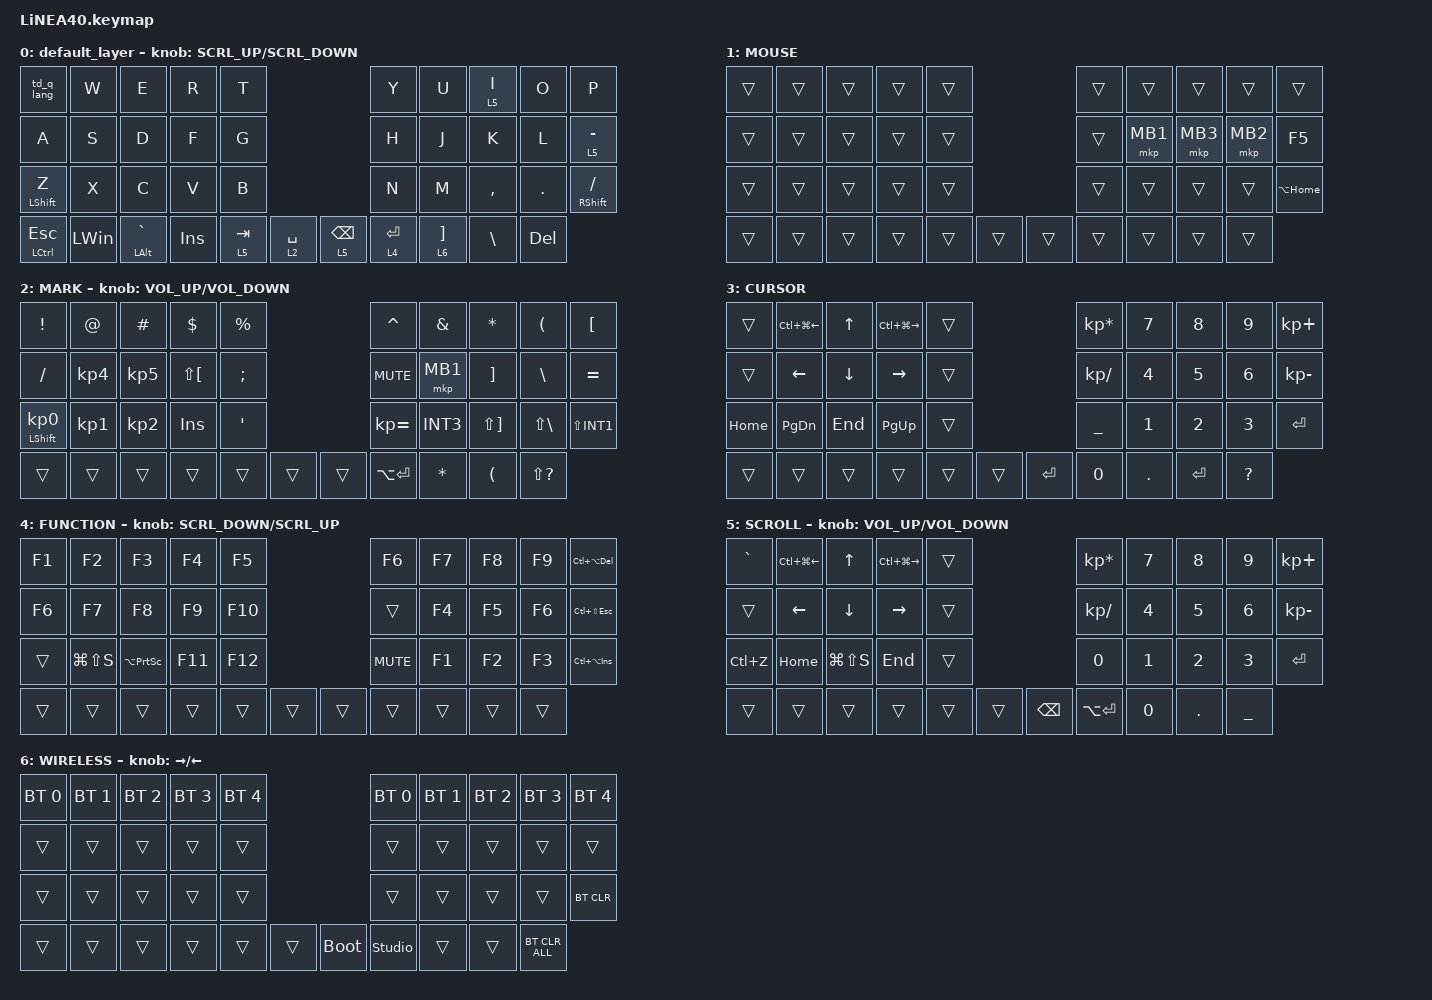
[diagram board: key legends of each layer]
#define ZMK_POINTING_DEFAULT_SCRL_VAL 150

#include <dt-bindings/zmk/input_transform.h>
#include <input/processors.dtsi>
#include <zephyr/dt-bindings/input/input-event-codes.h>
#include <behaviors.dtsi>
#include <dt-bindings/zmk/bt.h>
#include <dt-bindings/zmk/keys.h>
#include <dt-bindings/zmk/pointing.h>

#define MOUSE 1
#define MARK 2
#define CURSOR 3
#define FUNCTION 4
#define SCROLL 5
#define WIRELESS 6

//mouse cursol

&mmv {
    delay-ms = <20>;
    trigger-period-ms = <5>;
    time-to-max-speed-ms = <100>;
    acceleration-exponent = <2>;
};

//mouse scroll

&msc {
    delay-ms = <3>;
    trigger-period-ms = <3>;
    time-to-max-speed-ms = <100>;
    acceleration-exponent = <0>;
};

&mt {
    quick-tap-ms = <0>;
    flavor = "balanced";
};

/ {
    input_processors {
        zip_wheel_scaler: zip_wheel_scaler {
            compatible = "zmk,input-processor-scaler";
            #input-processor-cells = <2>;
            type = <INPUT_EV_REL>;
            codes = <INPUT_REL_WHEEL>;
            track-remainders;
        };
    };
};

&msc_input_listener {
    speed_up {
        layers = <FUNCTION>;
        input-processors = <&zip_wheel_scaler 3 1>; //スクロールを3倍速にする
    };
};

&trackball_listener {
    scroller {
        layers = <SCROLL>;
        input-processors =
            <&zip_xy_transform INPUT_TRANSFORM_Y_INVERT>,
            //スクロール方向を逆転,,,,,,,,,,,,,,,,,,,,,
            <&zip_xy_to_scroll_mapper>;
    };
};

/ {
    combos {
        compatible = "zmk,combos";

        ZenkakuHankaku {
            bindings = <&kp GRAVE>;
            key-positions = <11 12>;
        };

        DeleteKey {
            bindings = <&kp DEL>;
            key-positions = <7 8>;
        };

        InsertKey {
            bindings = <&kp INS>;
            key-positions = <6 7>;
        };

        CenterClick {
            bindings = <&mkp MB3>;
            key-positions = <17 16>;
        };

        RightClick {
            bindings = <&mkp MB2>;
            key-positions = <18 17>;
        };

        PrevClick {
            bindings = <&mkp MB4>;
            key-positions = <27 28>;
        };

        ClickNext {
            bindings = <&mkp MB5>;
            key-positions = <26 27>;
        };

        henkan {
            bindings = <&kp CAPS>;
            key-positions = <0 1>;
        };
    };

    behaviors {
        re_kp: sensor_rotate_kp {
            compatible = "zmk,behavior-sensor-rotate-var";
            #sensor-binding-cells = <2>;
            bindings = <&kp>, <&kp>;
        };

        mouse_scrl: mouse_wheel_scrl {
            compatible = "zmk,behavior-sensor-rotate-var";
            #sensor-binding-cells = <2>;
            bindings = <&msc>, <&msc>;

            tap-ms = <20>;
        };

        //Q1回でQ、Q2回で全角/半角（S+Dのcomboと同じ）

        td_q_lang: tap_dance_q_lang {
            compatible = "zmk,behavior-tap-dance";
            #binding-cells = <0>;
            tapping-term-ms = <300>;
            bindings = <&kp Q>, <&kp GRAVE>;
        };
    };

    keymap {
        compatible = "zmk,keymap";

        default_layer {
            bindings = <
&td_q_lang        &kp W         &kp E               &kp R    &kp T                                      &kp Y        &kp U  &lt 5 I              &kp O          &kp P
&kp A             &kp S         &kp D               &kp F    &kp G                                      &kp H        &kp J  &kp K                &kp L          &lt 5 MINUS
&mt LEFT_SHIFT Z  &kp X         &kp C               &kp V    &kp B                                      &kp N        &kp M  &kp COMMA            &kp DOT        &mt RIGHT_SHIFT SLASH
&mt LCTRL ESCAPE  &kp LEFT_WIN  &mt LEFT_ALT GRAVE  &kp INS  &lt 5 TAB  &lt 2 SPACE    &lt 5 BACKSPACE  &lt 4 ENTER         &lt 6 RIGHT_BRACKET  &kp BACKSLASH  &kp DEL
            >;

            sensor-bindings = <&mouse_scrl SCRL_UP SCRL_DOWN>;
        };

        //1

        MOUSE {
            bindings = <
&trans  &trans  &trans  &trans  &trans                    &trans  &trans    &trans    &trans    &trans
&trans  &trans  &trans  &trans  &trans                    &trans  &mkp MB1  &mkp MB3  &mkp MB2  &kp F5
&trans  &trans  &trans  &trans  &trans                    &trans  &trans    &trans    &trans    &kp LA(HOME)
&trans  &trans  &trans  &trans  &trans  &trans    &trans  &trans            &trans    &trans    &trans
            >;
        };

        //2

        MARK {
            bindings = <
&kp EXCLAMATION             &kp AT           &kp HASH         &kp DOLLAR            &kp PERCENT                      &kp CARET      &kp AMPERSAND  &kp ASTERISK           &kp LEFT_PARENTHESIS  &kp LBKT
&kp SLASH                   &kp KP_NUMBER_4  &kp KP_NUMBER_5  &kp LS(LEFT_BRACKET)  &kp SEMICOLON                    &kp C_MUTE     &mkp MB1       &kp RIGHT_BRACKET      &kp BACKSLASH         &kp EQUAL
&mt LEFT_SHIFT KP_NUMBER_0  &kp KP_NUMBER_1  &kp KP_NUMBER_2  &kp INSERT            &kp SQT                          &kp KP_EQUAL   &kp INT3       &kp LS(RIGHT_BRACKET)  &kp LS(BACKSLASH)     &kp LS(INT1)
&trans                      &trans           &trans           &trans                &trans         &trans    &trans  &kp LA(ENTER)                 &kp ASTERISK           &kp LEFT_PARENTHESIS  &kp LS(QUESTION)
            >;

            sensor-bindings = <&re_kp C_VOL_UP C_VOLUME_DOWN>;
        };

        //3

        CURSOR {
            bindings = <
&trans    &kp LC(LG(LEFT_ARROW))  &kp UP_ARROW  &kp LC(LG(RIGHT_ARROW))  &trans                       &kp KP_MULTIPLY  &kp NUMBER_7  &kp NUMBER_8  &kp NUMBER_9  &kp KP_PLUS
&trans    &kp LEFT_ARROW          &kp DOWN      &kp RIGHT_ARROW          &trans                       &kp KP_SLASH     &kp NUMBER_4  &kp NUMBER_5  &kp NUMBER_6  &kp KP_MINUS
&kp HOME  &kp PAGE_DOWN           &kp END       &kp PAGE_UP              &trans                       &kp UNDER        &kp NUMBER_1  &kp NUMBER_2  &kp NUMBER_3  &kp ENTER
&trans    &trans                  &trans        &trans                   &trans  &trans    &kp ENTER  &kp NUMBER_0                   &kp DOT       &kp ENTER     &kp QUESTION
            >;
        };

        //4

        FUNCTION {
            bindings = <
&kp F1  &kp F2         &kp F3               &kp F4   &kp F5                     &kp F6      &kp F7  &kp F8  &kp F9  &kp LC(LA(DELETE))
&kp F6  &kp F7         &kp F8               &kp F9   &kp F10                    &trans      &kp F4  &kp F5  &kp F6  &kp LC(LS(ESCAPE))
&trans  &kp LG(LS(S))  &kp LA(PRINTSCREEN)  &kp F11  &kp F12                    &kp C_MUTE  &kp F1  &kp F2  &kp F3  &kp LC(LA(INS))
&trans  &trans         &trans               &trans   &trans   &trans    &trans  &trans              &trans  &trans  &trans
            >;

            sensor-bindings = <&mouse_scrl SCRL_DOWN SCRL_UP>;
        };

        //5

        SCROLL {
            bindings = <
&kp GRAVE  &kp LC(LG(LEFT_ARROW))  &kp UP_ARROW   &kp LC(LG(RIGHT_ARROW))  &trans                           &kp KP_MULTIPLY  &kp NUMBER_7  &kp NUMBER_8  &kp NUMBER_9  &kp KP_PLUS
&trans     &kp LEFT_ARROW          &kp DOWN       &kp RIGHT_ARROW          &trans                           &kp KP_SLASH     &kp NUMBER_4  &kp NUMBER_5  &kp NUMBER_6  &kp KP_MINUS
&kp LC(Z)  &kp HOME                &kp LG(LS(S))  &kp END                  &trans                           &kp NUMBER_0     &kp NUMBER_1  &kp NUMBER_2  &kp NUMBER_3  &kp ENTER
&trans     &trans                  &trans         &trans                   &trans  &trans    &kp BACKSPACE  &kp LA(ENTER)                  &kp NUMBER_0  &kp DOT       &kp UNDER
            >;

            sensor-bindings = <&re_kp C_VOLUME_UP C_VOLUME_DOWN>;
        };

        //6

        WIRELESS {
            bindings = <
&bt BT_SEL 0  &bt BT_SEL 1  &bt BT_SEL 2  &bt BT_SEL 3  &bt BT_SEL 4                         &bt BT_SEL 0    &bt BT_SEL 1  &bt BT_SEL 2  &bt BT_SEL 3  &bt BT_SEL 4
&trans        &trans        &trans        &trans        &trans                               &trans          &trans        &trans        &trans        &trans
&trans        &trans        &trans        &trans        &trans                               &trans          &trans        &trans        &trans        &bt BT_CLR
&trans        &trans        &trans        &trans        &trans        &trans    &bootloader  &studio_unlock                &trans        &trans        &bt BT_CLR_ALL
            >;

            sensor-bindings = <&inc_dec_kp RIGHT_ARROW LEFT_ARROW>;
        };
    };
};
